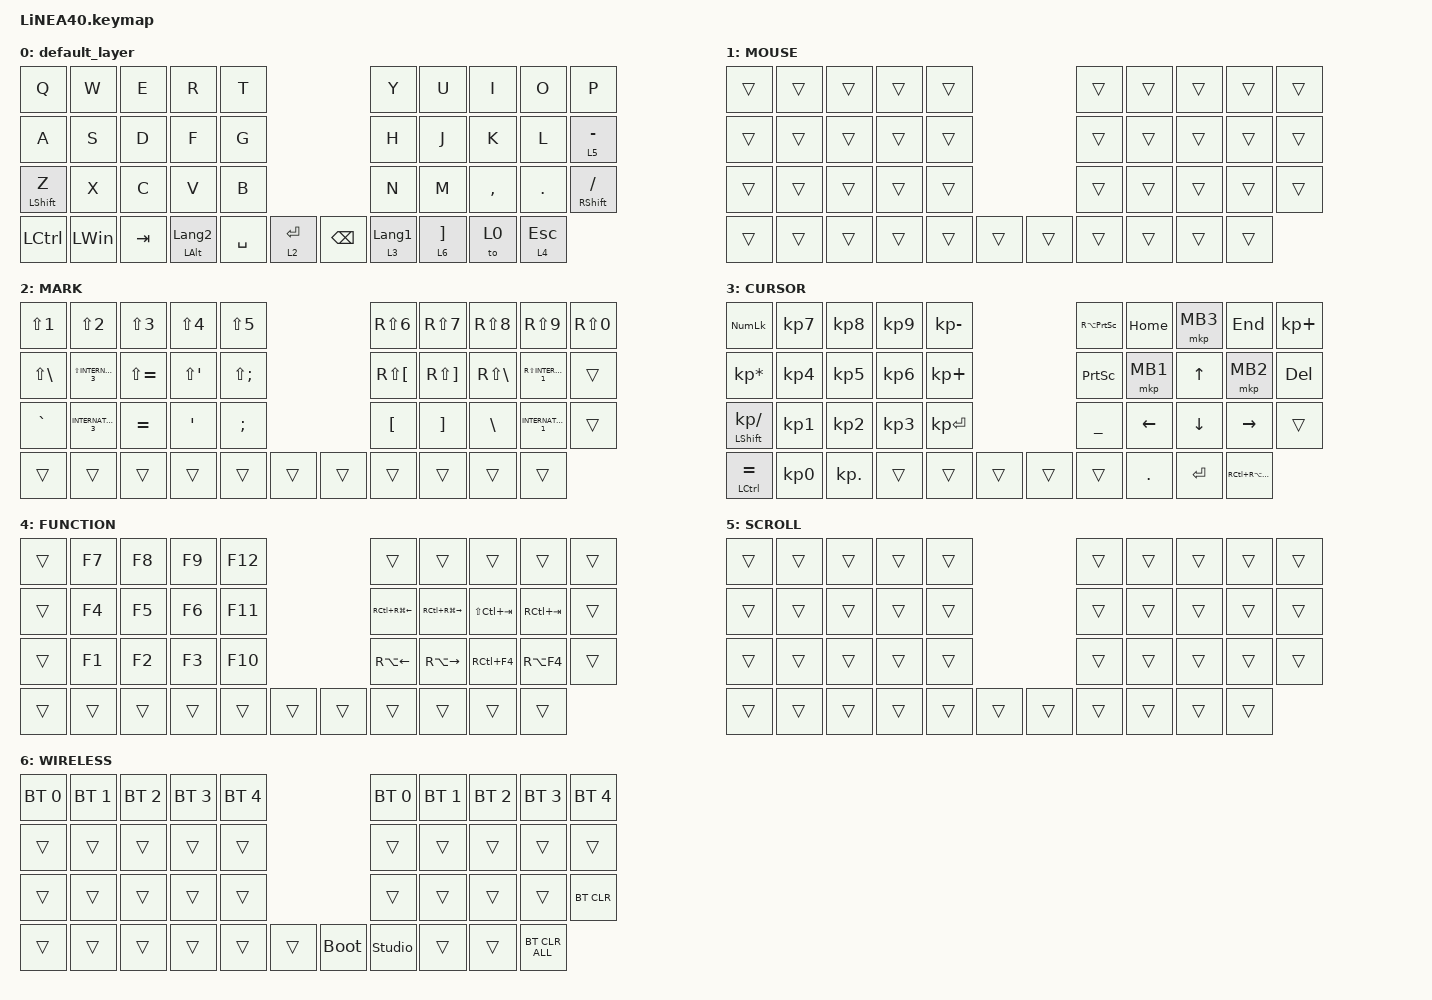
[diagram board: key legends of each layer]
#define ZMK_POINTING_DEFAULT_SCRL_VAL 150

#include <dt-bindings/zmk/input_transform.h>
#include <input/processors.dtsi>
#include <zephyr/dt-bindings/input/input-event-codes.h>
#include <behaviors.dtsi>
#include <dt-bindings/zmk/bt.h>
#include <dt-bindings/zmk/keys.h>
#include <dt-bindings/zmk/pointing.h>

#define MOUSE 1
#define MARK 2
#define CURSOR 3
#define FUNCTION 4
#define SCROLL 5
#define WIRELESS 6
#define layer_JIS 7
#define MARK_JIS 8

//mouse cursol

&mmv {
    delay-ms = <20>;
    trigger-period-ms = <5>;
    time-to-max-speed-ms = <100>;
    acceleration-exponent = <2>;
};

//mouse scroll

&msc {
    delay-ms = <3>;
    trigger-period-ms = <3>;
    time-to-max-speed-ms = <100>;
    acceleration-exponent = <0>;
};

/ {
    input_processors {
        zip_wheel_scaler: zip_wheel_scaler {
            compatible = "zmk,input-processor-scaler";
            #input-processor-cells = <2>;
            type = <INPUT_EV_REL>;
            codes = <INPUT_REL_WHEEL>;
            track-remainders;
        };
    };
};

&msc_input_listener {
    speed_up {
        layers = <FUNCTION>;
        input-processors = <&zip_wheel_scaler 3 1>; //スクロールを3倍速にする
    };
};

&trackball_listener {
    scroller {
        layers = <SCROLL>;
        input-processors =
            <&zip_xy_transform INPUT_TRANSFORM_Y_INVERT>,
            //スクロール方向を逆転,,,,,
            <&zip_xy_to_scroll_mapper>;
    };
};

/ {
    combos {
        compatible = "zmk,combos";

        CMB1 {
            bindings = <&mkp MB1>;
            key-positions = <16 17>;
        };

        CMB2 {
            bindings = <&mkp MB2>;
            key-positions = <17 18>;
        };

        CMB3 {
            bindings = <&mkp MB3>;
            key-positions = <17 7>;
        };
    };

    behaviors {
        re_kp: sensor_rotate_kp {
            compatible = "zmk,behavior-sensor-rotate-var";
            #sensor-binding-cells = <2>;
            bindings = <&kp>, <&kp>;
        };

        mouse_scrl: mouse_wheel_scrl {
            compatible = "zmk,behavior-sensor-rotate-var";
            #sensor-binding-cells = <2>;
            bindings = <&msc>, <&msc>;

            tap-ms = <20>;
        };
    };

    keymap {
        compatible = "zmk,keymap";

        default_layer {
            bindings = <
&kp Q             &kp W         &kp E    &kp R                    &kp T                                    &kp Y             &kp U  &kp I                &kp O    &kp P
&kp A             &kp S         &kp D    &kp F                    &kp G                                    &kp H             &kp J  &kp K                &kp L    &lt 5 MINUS
&mt LEFT_SHIFT Z  &kp X         &kp C    &kp V                    &kp B                                    &kp N             &kp M  &kp COMMA            &kp DOT  &mt RIGHT_SHIFT SLASH
&kp LCTRL         &kp LEFT_WIN  &kp TAB  &mt LEFT_ALT LANGUAGE_2  &kp SPACE  &lt 2 ENTER    &kp BACKSPACE  &lt 3 LANGUAGE_1         &lt 6 RIGHT_BRACKET  &to 0    &lt 4 ESC
            >;
        };

        MOUSE {
            bindings = <
&trans  &trans  &trans  &trans  &trans                    &trans  &trans  &trans  &trans  &trans
&trans  &trans  &trans  &trans  &trans                    &trans  &trans  &trans  &trans  &trans
&trans  &trans  &trans  &trans  &trans                    &trans  &trans  &trans  &trans  &trans
&trans  &trans  &trans  &trans  &trans  &trans    &trans  &trans          &trans  &trans  &trans
            >;
        };

        MARK {
            bindings = <
&kp LS(NUMBER_1)   &kp LS(NUMBER_2)         &kp LS(NUMBER_3)  &kp LS(NUMBER_4)      &kp LS(N5)                           &kp RS(NUMBER_6)      &kp RS(N7)             &kp RS(N8)         &kp RS(N9)               &kp RS(N0)
&kp LS(BACKSLASH)  &kp LS(INTERNATIONAL_3)  &kp LS(EQUAL)     &kp LS(SINGLE_QUOTE)  &kp LS(SEMICOLON)                    &kp RS(LEFT_BRACKET)  &kp RS(RIGHT_BRACKET)  &kp RS(BACKSLASH)  &kp RS(INTERNATIONAL_1)  &trans
&kp GRAVE          &kp INTERNATIONAL_3      &kp EQUAL         &kp SINGLE_QUOTE      &kp SEMICOLON                        &kp LEFT_BRACKET      &kp RIGHT_BRACKET      &kp BACKSLASH      &kp INTERNATIONAL_1      &trans
&trans             &trans                   &trans            &trans                &trans             &trans    &trans  &trans                                       &trans             &trans                   &trans
            >;
        };

        CURSOR {
            bindings = <
&kp KP_NUMLOCK           &kp KP_NUMBER_7  &kp KP_NUMBER_8  &kp KP_NUMBER_9  &kp KP_MINUS                    &kp RA(PRINTSCREEN)  &kp HOME  &mkp MB3        &kp END          &kp KP_PLUS
&kp KP_MULTIPLY          &kp KP_NUMBER_4  &kp KP_NUMBER_5  &kp KP_NUMBER_6  &kp KP_PLUS                     &kp PRINTSCREEN      &mkp MB1  &kp UP_ARROW    &mkp MB2         &kp DELETE
&mt LEFT_SHIFT KP_SLASH  &kp KP_NUMBER_1  &kp KP_NUMBER_2  &kp KP_NUMBER_3  &kp KP_ENTER                    &kp UNDER            &kp LEFT  &kp DOWN_ARROW  &kp RIGHT_ARROW  &trans
&mt LCTRL EQUAL          &kp KP_N0        &kp KP_DOT       &trans           &trans        &trans    &trans  &trans                         &kp DOT         &kp ENTER        &kp RC(RA(DEL))
            >;
        };

        FUNCTION {
            bindings = <
&trans  &kp F7  &kp F8  &kp F9  &kp F12                    &trans            &trans             &trans           &trans       &trans
&trans  &kp F4  &kp F5  &kp F6  &kp F11                    &kp RC(RG(LEFT))  &kp RC(RG(RIGHT))  &kp LS(LC(TAB))  &kp RC(TAB)  &trans
&trans  &kp F1  &kp F2  &kp F3  &kp F10                    &kp RA(LEFT)      &kp RA(RIGHT)      &kp RC(F4)       &kp RA(F4)   &trans
&trans  &trans  &trans  &trans  &trans   &trans    &trans  &trans                               &trans           &trans       &trans
            >;
        };

        SCROLL {
            bindings = <
&trans  &trans  &trans  &trans  &trans                    &trans  &trans  &trans  &trans  &trans
&trans  &trans  &trans  &trans  &trans                    &trans  &trans  &trans  &trans  &trans
&trans  &trans  &trans  &trans  &trans                    &trans  &trans  &trans  &trans  &trans
&trans  &trans  &trans  &trans  &trans  &trans    &trans  &trans          &trans  &trans  &trans
            >;
        };

        WIRELESS {
            bindings = <
&bt BT_SEL 0  &bt BT_SEL 1  &bt BT_SEL 2  &bt BT_SEL 3  &bt BT_SEL 4                         &bt BT_SEL 0    &bt BT_SEL 1  &bt BT_SEL 2  &bt BT_SEL 3  &bt BT_SEL 4
&trans        &trans        &trans        &trans        &trans                               &trans          &trans        &trans        &trans        &trans
&trans        &trans        &trans        &trans        &trans                               &trans          &trans        &trans        &trans        &bt BT_CLR
&trans        &trans        &trans        &trans        &trans        &trans    &bootloader  &studio_unlock                &trans        &trans        &bt BT_CLR_ALL
            >;
        };
    };
};
